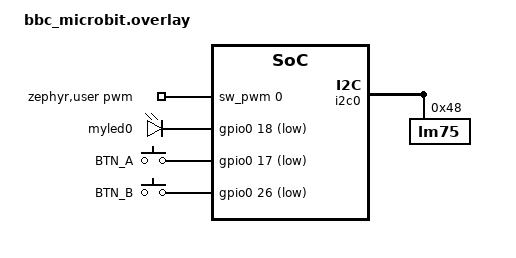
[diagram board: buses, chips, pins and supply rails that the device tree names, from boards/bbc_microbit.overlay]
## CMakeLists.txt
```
cmake_minimum_required(VERSION 3.13.1)
find_package(Zephyr REQUIRED HINTS $ENV{ZEPHYR_BASE})

project(app LANGUAGES C)

target_sources(app PRIVATE src/main.c
                            src/srv/pwm.c)

target_include_directories(app PRIVATE include)
```

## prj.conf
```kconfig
# Copyright (c) 2021 Nordic Semiconductor ASA
# SPDX-License-Identifier: Apache-2.0
#
# This file contains selected Kconfig options for the application.

CONFIG_SENSOR=y
# CONFIG_BLINK=y
CONFIG_GPIO=y
CONFIG_LM75=n
```

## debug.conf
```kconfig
CONFIG_DEBUG_OPTIMIZATIONS=y

CONFIG_ASSERT=y
CONFIG_LOG=y
CONFIG_LOG_MODE_IMMEDIATE=y
CONFIG_LOG_DEFAULT_LEVEL=3

CONFIG_TEST=y
CONFIG_PRINTK=y
```

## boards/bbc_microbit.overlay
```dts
/ {
	zephyr,user {
		pwms = <&sw_pwm 0 PWM_USEC(1500) PWM_POLARITY_NORMAL>;
	};

    aliases {
        led0 = &myled0;
    };

    leds {
        compatible = "gpio-leds";
        myled0: led0 {
            gpios = <&gpio0 18 GPIO_ACTIVE_LOW>;
        };
    };

    buttons: gpio_keys {
		compatible = "gpio-keys";
		buttonA: button_0 {
			label = "BTN_A";
			gpios = <&gpio0 17 GPIO_ACTIVE_LOW>;
			zephyr,code = <INPUT_KEY_A>;
		};

		buttonB: button_1 {
			label = "BTN_B";
			gpios = <&gpio0 26 GPIO_ACTIVE_LOW>;
			zephyr,code = <INPUT_KEY_B>;
		};
	};

    longpress: longpress {
        input = <&buttons>;
        compatible = "zephyr,input-longpress";
        input-codes = <INPUT_KEY_B>;
		short-codes = <INPUT_KEY_0>;
		long-codes = <INPUT_KEY_1>;
		long-delay-ms = <1000>;
    };
};

&i2c0 {
	lm75: lm75@48 {
		status = "okay";
		reg = <0x48>;
		compatible = "lm75";
	};
};
```

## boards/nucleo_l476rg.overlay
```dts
&clk_lse {
	status = "disabled";
};
```

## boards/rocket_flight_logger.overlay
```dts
&pinctrl {
    swj-cfg = "jtag-disable";
};
```

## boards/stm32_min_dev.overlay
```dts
// / {
// 	zephyr,user {
// 		pwms = <&pwm3 1 PWM_MSEC(10) PWM_POLARITY_NORMAL>;
// 	};
// };

// &timers3 {
// 	st,prescaler = <10000>;
// 	status = "okay";

// 	pwm3: pwm {
// 		status = "okay";
// 		pinctrl-0 = <&tim3_ch1_pwm_out_pa6>;
// 		pinctrl-names = "default";
// 	};
// };

&pinctrl {
    swj-cfg = "jtag-disable";
};
```

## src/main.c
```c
#include <stdio.h>

#include <zephyr/kernel.h>
#include <zephyr/drivers/gpio.h>
#include <zephyr/logging/log.h>

#include <zephyr/drivers/pwm.h>
#include <zephyr/device.h>

#define DELAY_MS 300

#define LED0_NODE DT_ALIAS(led0)
static const struct gpio_dt_spec led = GPIO_DT_SPEC_GET(LED0_NODE, gpios);

int main(void)
{
	int ret;
	bool led_state = true;

	printk("Zephyr Sandbox App\n");

	if (!gpio_is_ready_dt(&led)) {
		return 0;
	}

	ret = gpio_pin_configure_dt(&led, GPIO_OUTPUT_ACTIVE);
	if (ret < 0) {
		return 0;
	}

	while (1) {
		ret = gpio_pin_toggle_dt(&led);
		if (ret < 0) {
			return 0;
		}

		led_state = !led_state;
		printf("LED state: %s\n", led_state ? "ON" : "OFF");
		k_msleep(DELAY_MS);
	}

	return 0;
}
```
